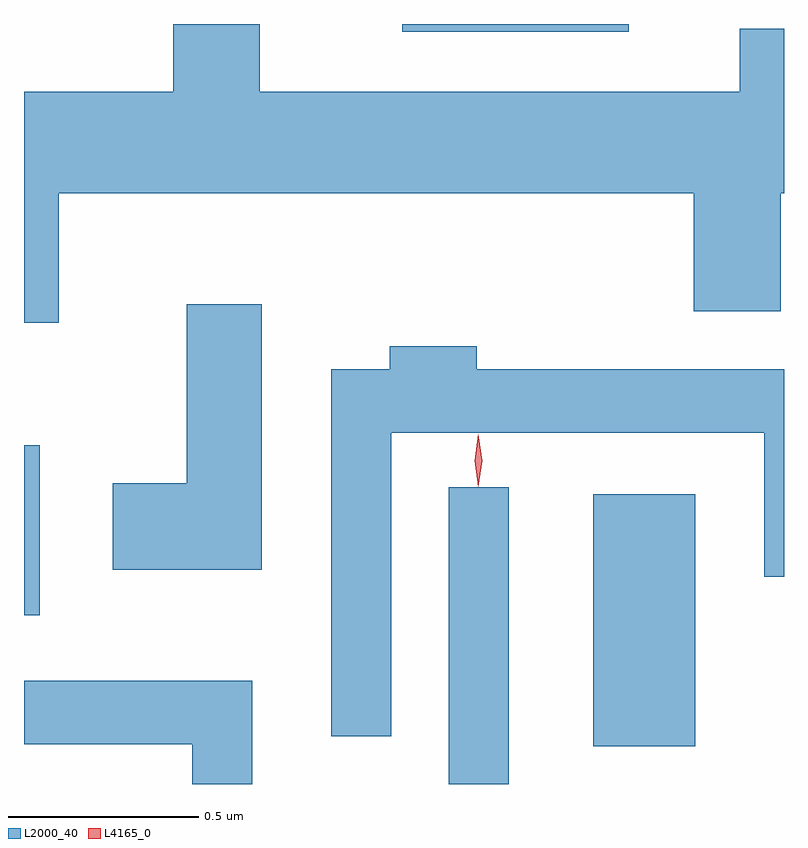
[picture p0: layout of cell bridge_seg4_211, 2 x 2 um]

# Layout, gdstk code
import gdstk
lib = gdstk.Library(unit=1e-6, precision=1e-09)
def R(c, l, rs):  # rectangles x0, y0, x1, y1
    for r in rs: c.add(gdstk.rectangle(r[:2], r[2:], *l))
def P(c, l, *ps):  # polygons
    for p in ps: c.add(gdstk.Polygon(p, *l))
L2000_40 = (2000, 40)
L4165_0 = (4165, 0)

bridge_seg4_211 = lib.new_cell('bridge_seg4_211')
R(bridge_seg4_211, L2000_40, [(1018.516,1310.942,1018.674,1311.723), (1018.896,1311.041,1019.164,1311.704), (1017.398,1311.386,1017.439,1311.834), (1018.393,1312.921,1018.989,1312.942)])
P(bridge_seg4_211, L2000_40, [(1017.489,1312.496),(1019.161,1312.496),(1019.161,1312.186),(1019.389,1312.186),(1019.389,1312.496),(1019.398,1312.496),(1019.398,1312.929),(1019.281,1312.929),(1019.281,1312.764),(1018.019,1312.764),(1018.019,1312.942),(1017.791,1312.942),(1017.791,1312.764),(1017.398,1312.764),(1017.398,1312.156),(1017.489,1312.156)],
  [(1018.024,1312.204),(1017.826,1312.204),(1017.826,1311.734),(1017.631,1311.734),(1017.631,1311.506),(1018.024,1311.506)],
  [(1018.364,1311.866),(1019.346,1311.866),(1019.346,1311.488),(1019.398,1311.488),(1019.398,1312.034),(1018.589,1312.034),(1018.589,1312.094),(1018.361,1312.094),(1018.361,1312.034),(1018.206,1312.034),(1018.206,1311.068),(1018.364,1311.068)],
  [(1017.999,1311.214),(1017.398,1311.214),(1017.398,1311.046),(1017.841,1311.046),(1017.841,1310.942),(1017.999,1310.942)])
P(bridge_seg4_211, L4165_0, [(1018.594,1311.724),(1018.594,1311.724),(1018.584,1311.793),(1018.593,1311.862),(1018.594,1311.863),(1018.594,1311.862),(1018.604,1311.793),(1018.594,1311.724)])

lib.write_gds('bridge_seg4_211.gds')
